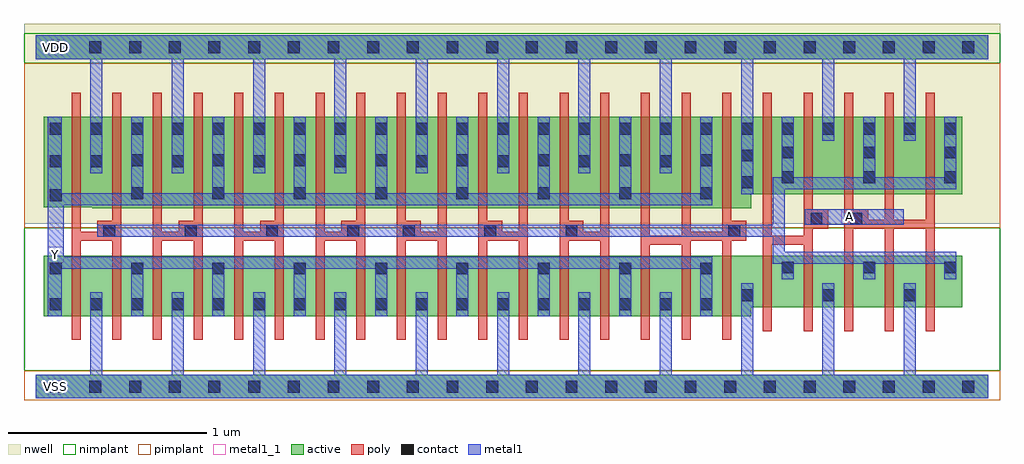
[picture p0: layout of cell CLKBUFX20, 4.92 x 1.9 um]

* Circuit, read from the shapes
.subckt CLKBUFX20 A VDD VSS Y
M1 VSS n1 Y VSS nfet w=0.305u l=0.045u m=17
M2 n1 A VSS VSS nfet w=0.26u l=0.045u m=5
M3 VDD n1 Y VDD pfet w=0.455u l=0.045u
M4 Y n1 VDD VDD pfet w=0.46u l=0.045u m=16
M5 n1 A VDD VDD pfet w=0.39u l=0.045u m=5
.ends

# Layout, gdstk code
import gdstk
lib = gdstk.Library(unit=1e-6, precision=5e-10)
def R(c, l, rs):  # rectangles x0, y0, x1, y1
    for r in rs: c.add(gdstk.rectangle(r[:2], r[2:], *l))
def A(c, l, x, y, w, h, nx, ny, dx, dy):  # array of equal rectangles
    R(c, l, [(x+i*dx, y+j*dy, x+i*dx+w, y+j*dy+h) for i in range(nx) for j in range(ny)])
def P(c, l, *ps):  # polygons
    for p in ps: c.add(gdstk.Polygon(p, *l))
active = (1, 0)
nwell = (2, 0)
poly = (3, 0)
nimplant = (4, 0)
pimplant = (5, 0)
contact = (6, 0)
metal1 = (7, 0)
metal1_1 = (7, 1)

clkbufx20 = lib.new_cell('CLKBUFX20')
R(clkbufx20, active, [(0,-0.06,4.8,0.06), (0,1.65,4.8,1.77)])
P(clkbufx20, active, [(0.04,1.36),(4.67,1.36),(4.67,0.97),(3.605,0.97),(3.605,0.9),(0.285,0.9),(0.285,0.905),(0.04,0.905)],
  [(0.04,0.66),(4.67,0.66),(4.67,0.4),(3.605,0.4),(3.605,0.355),(0.04,0.355)])
R(clkbufx20, nwell, [(-0.06,0.82,4.86,1.83)])
P(clkbufx20, poly, [(0.18,1.48),(0.225,1.48),(0.225,0.78),(0.31,0.78),(0.31,0.835),(0.385,0.835),(0.385,1.48),(0.43,1.48),(0.43,0.235),(0.385,0.235),(0.385,0.735),(0.225,0.735),(0.225,0.235),(0.18,0.235)],
  [(0.59,1.48),(0.635,1.48),(0.635,0.78),(0.72,0.78),(0.72,0.835),(0.795,0.835),(0.795,1.48),(0.84,1.48),(0.84,0.235),(0.795,0.235),(0.795,0.735),(0.635,0.735),(0.635,0.235),(0.59,0.235)],
  [(1,1.48),(1.045,1.48),(1.045,0.78),(1.13,0.78),(1.13,0.835),(1.205,0.835),(1.205,1.48),(1.25,1.48),(1.25,0.235),(1.205,0.235),(1.205,0.735),(1.045,0.735),(1.045,0.235),(1,0.235)],
  [(1.41,1.48),(1.455,1.48),(1.455,0.78),(1.54,0.78),(1.54,0.835),(1.615,0.835),(1.615,1.48),(1.66,1.48),(1.66,0.235),(1.615,0.235),(1.615,0.735),(1.455,0.735),(1.455,0.235),(1.41,0.235)],
  [(1.82,1.48),(1.865,1.48),(1.865,0.835),(1.94,0.835),(1.94,0.78),(2.025,0.78),(2.025,1.48),(2.07,1.48),(2.07,0.235),(2.025,0.235),(2.025,0.735),(1.865,0.735),(1.865,0.235),(1.82,0.235)],
  [(2.23,1.48),(2.275,1.48),(2.275,0.835),(2.35,0.835),(2.35,0.78),(2.435,0.78),(2.435,1.48),(2.48,1.48),(2.48,0.235),(2.435,0.235),(2.435,0.735),(2.275,0.735),(2.275,0.235),(2.23,0.235)],
  [(2.64,1.48),(2.685,1.48),(2.685,0.835),(2.76,0.835),(2.76,0.78),(2.845,0.78),(2.845,1.48),(2.89,1.48),(2.89,0.235),(2.845,0.235),(2.845,0.735),(2.685,0.735),(2.685,0.235),(2.64,0.235)],
  [(3.05,1.48),(3.095,1.48),(3.095,0.76),(3.255,0.76),(3.255,1.48),(3.3,1.48),(3.3,0.78),(3.46,0.78),(3.46,1.48),(3.505,1.48),(3.505,0.835),(3.58,0.835),(3.58,0.735),(3.505,0.735),(3.505,0.235),(3.46,0.235),(3.46,0.735),(3.3,0.735),(3.3,0.235),(3.255,0.235),(3.255,0.715),(3.095,0.715),(3.095,0.235),(3.05,0.235)],
  [(3.665,1.48),(3.71,1.48),(3.71,0.76),(3.87,0.76),(3.87,1.48),(3.915,1.48),(3.915,0.895),(3.995,0.895),(3.995,0.795),(3.915,0.795),(3.915,0.28),(3.87,0.28),(3.87,0.715),(3.71,0.715),(3.71,0.28),(3.665,0.28)],
  [(4.075,1.48),(4.12,1.48),(4.12,0.895),(4.195,0.895),(4.195,0.84),(4.28,0.84),(4.28,1.48),(4.325,1.48),(4.325,0.84),(4.485,0.84),(4.485,1.48),(4.53,1.48),(4.53,0.28),(4.485,0.28),(4.485,0.795),(4.325,0.795),(4.325,0.28),(4.28,0.28),(4.28,0.795),(4.12,0.795),(4.12,0.28),(4.075,0.28)])
R(clkbufx20, nimplant, [(-0.06,0.08,4.86,0.8), (-0.06,1.63,4.86,1.78)])
R(clkbufx20, pimplant, [(-0.06,-0.07,4.86,0.08), (-0.06,0.8,4.86,1.63)])
A(clkbufx20, contact, 0.07, -0.03, 0.06, 0.06, 24, 2, 0.2, 1.71)
A(clkbufx20, contact, 0.07, 0.385, 0.06, 0.06, 17, 1, 0.205, 0)
A(clkbufx20, contact, 3.555, 0.43, 0.06, 0.06, 3, 1, 0.41, 0)
A(clkbufx20, contact, 0.07, 0.565, 0.06, 0.06, 9, 1, 0.41, 0)
A(clkbufx20, contact, 3.76, 0.57, 0.06, 0.06, 3, 2, 0.41, 0.455)
A(clkbufx20, contact, 0.34, 0.755, 0.06, 0.06, 4, 1, 0.41, 0)
A(clkbufx20, contact, 1.85, 0.755, 0.06, 0.06, 3, 1, 0.41, 0)
A(clkbufx20, contact, 0.48, 0.945, 0.06, 0.06, 8, 2, 0.41, 0.165)
A(clkbufx20, contact, 0.275, 1.105, 0.06, 0.06, 8, 1, 0.41, 0)
A(clkbufx20, contact, 3.76, 1.15, 0.06, 0.06, 3, 1, 0.41, 0)
A(clkbufx20, contact, 0.07, 1.27, 0.06, 0.06, 23, 1, 0.205, 0)
R(clkbufx20, contact, [(3.49,0.755,3.55,0.815), (3.905,0.815,3.965,0.875), (4.105,0.815,4.165,0.875), (0.07,0.935,0.13,0.995), (3.555,1,3.615,1.06), (0.07,1.105,0.13,1.165), (3.555,1.135,3.615,1.195)])
R(clkbufx20, metal1, [(3.875,0.815,4.375,0.895)])
P(clkbufx20, metal1, [(0,1.77),(4.8,1.77),(4.8,1.65),(4.435,1.65),(4.435,1.24),(4.375,1.24),(4.375,1.65),(4.025,1.65),(4.025,1.24),(3.965,1.24),(3.965,1.65),(3.615,1.65),(3.615,0.97),(3.555,0.97),(3.555,1.65),(3.205,1.65),(3.205,1.075),(3.145,1.075),(3.145,1.65),(2.795,1.65),(2.795,1.075),(2.735,1.075),(2.735,1.65),(2.385,1.65),(2.385,1.075),(2.325,1.075),(2.325,1.65),(1.975,1.65),(1.975,1.075),(1.915,1.075),(1.915,1.65),(1.565,1.65),(1.565,1.075),(1.505,1.075),(1.505,1.65),(1.155,1.65),(1.155,1.075),(1.095,1.075),(1.095,1.65),(0.745,1.65),(0.745,1.075),(0.685,1.075),(0.685,1.65),(0.335,1.65),(0.335,1.075),(0.275,1.075),(0.275,1.65),(0,1.65)],
  [(0.06,1.36),(0.13,1.36),(0.13,0.975),(0.48,0.975),(0.48,1.36),(0.54,1.36),(0.54,0.975),(0.89,0.975),(0.89,1.36),(0.95,1.36),(0.95,0.975),(1.3,0.975),(1.3,1.36),(1.36,1.36),(1.36,0.975),(1.71,0.975),(1.71,1.36),(1.77,1.36),(1.77,0.975),(2.12,0.975),(2.12,1.36),(2.18,1.36),(2.18,0.975),(2.53,0.975),(2.53,1.36),(2.59,1.36),(2.59,0.975),(2.94,0.975),(2.94,1.36),(3,1.36),(3,0.975),(3.35,0.975),(3.35,1.36),(3.41,1.36),(3.41,0.915),(0.14,0.915),(0.14,0.655),(3.41,0.655),(3.41,0.355),(3.35,0.355),(3.35,0.595),(3,0.595),(3,0.355),(2.94,0.355),(2.94,0.595),(2.59,0.595),(2.59,0.355),(2.53,0.355),(2.53,0.595),(2.18,0.595),(2.18,0.355),(2.12,0.355),(2.12,0.595),(1.77,0.595),(1.77,0.355),(1.71,0.355),(1.71,0.595),(1.36,0.595),(1.36,0.355),(1.3,0.355),(1.3,0.595),(0.95,0.595),(0.95,0.355),(0.89,0.355),(0.89,0.595),(0.54,0.595),(0.54,0.355),(0.48,0.355),(0.48,0.595),(0.13,0.595),(0.13,0.355),(0.06,0.355)],
  [(3.76,1.36),(3.82,1.36),(3.82,1.055),(4.17,1.055),(4.17,1.36),(4.23,1.36),(4.23,1.055),(4.58,1.055),(4.58,1.36),(4.64,1.36),(4.64,0.995),(3.775,0.995),(3.775,0.68),(4.64,0.68),(4.64,0.54),(4.58,0.54),(4.58,0.62),(4.23,0.62),(4.23,0.54),(4.17,0.54),(4.17,0.62),(3.82,0.62),(3.82,0.54),(3.76,0.54),(3.76,0.62),(3.715,0.62),(3.715,0.755),(0.31,0.755),(0.31,0.815),(3.715,0.815),(3.715,1.055),(3.76,1.055)],
  [(0.275,0.475),(0.335,0.475),(0.335,0.06),(0.685,0.06),(0.685,0.475),(0.745,0.475),(0.745,0.06),(1.095,0.06),(1.095,0.475),(1.155,0.475),(1.155,0.06),(1.505,0.06),(1.505,0.475),(1.565,0.475),(1.565,0.06),(1.915,0.06),(1.915,0.475),(1.975,0.475),(1.975,0.06),(2.325,0.06),(2.325,0.475),(2.385,0.475),(2.385,0.06),(2.735,0.06),(2.735,0.475),(2.795,0.475),(2.795,0.06),(3.145,0.06),(3.145,0.475),(3.205,0.475),(3.205,0.06),(3.555,0.06),(3.555,0.52),(3.615,0.52),(3.615,0.06),(3.965,0.06),(3.965,0.52),(4.025,0.52),(4.025,0.06),(4.375,0.06),(4.375,0.52),(4.435,0.52),(4.435,0.06),(4.8,0.06),(4.8,-0.06),(0,-0.06),(0,0.06),(0.275,0.06)])
R(clkbufx20, metal1_1, [(0.06,-0.04,0.14,0.04), (0.06,0.625,0.14,0.705), (4.06,0.815,4.14,0.895), (0.06,1.67,0.14,1.75)])
clkbufx20.add(gdstk.Label('Y', (0.1,0.665), layer=7, texttype=1))
clkbufx20.add(gdstk.Label('A', (4.1,0.855), layer=7, texttype=1))
clkbufx20.add(gdstk.Label('VDD', (0.1,1.71), layer=7, texttype=1))
clkbufx20.add(gdstk.Label('VSS', (0.1,0), layer=7, texttype=1))
clkbufx20.add(gdstk.Label('CLKBUFX20', (0,0), layer=63, texttype=0))

lib.write_gds('CLKBUFX20.gds')
